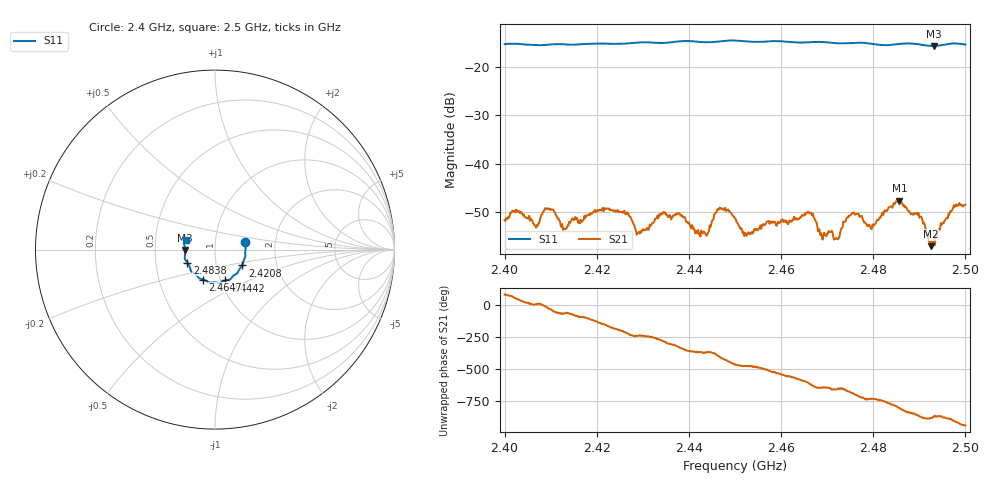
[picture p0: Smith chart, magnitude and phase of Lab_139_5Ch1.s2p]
# Hz S RI R 50
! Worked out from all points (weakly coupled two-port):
!   601 points, 2.4 GHz to 2.5 GHz, reference 50 ohm
!   highest |S21| = -47.64 dB at 2.4857 GHz (marker M1); lowest = -57.1 dB at 2.4925 GHz (marker M2)
!   lowest |S11| = -15.6 dB at 2.4932 GHz (marker M3), VSWR 1.40, Z = 35.8 - j0.109 ohm
!   |S11| at or under -10 dB: start of sweep to end of sweep
!   S12 and S22 are empty: the file has one direction only
!   S11 on the Smith chart (normalised r, x): 2.4 GHz: 1.40, +0.12; 2.4208 GHz: 1.33, -0.24; 2.4442 GHz: 1.05, -0.37; 2.4647 GHz: 0.83, -0.29; 2.4838 GHz: 0.73, -0.11; 2.5 GHz: 0.72, +0.08
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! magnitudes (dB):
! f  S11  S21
! 2.4 GHz  -15.2  -51.7
! 2.4167 GHz  -15.3  -52.1
! 2.4208 GHz  -15.1  -49.6
! 2.4263 GHz  -15.1  -50.1
! 2.4292 GHz  -14.9  -54.1
! 2.4333 GHz  -15.0  -51.3
! 2.4442 GHz  -14.9  -54.2
! 2.4467 GHz  -14.7  -49.1
! 2.45 GHz  -14.5  -51.3
! 2.4525 GHz  -14.7  -54.9
! 2.4647 GHz  -14.9  -50.7
! 2.4667 GHz  -14.8  -50.6
! 2.472 GHz  -15.1  -55.4
! 2.4752 GHz  -15.0  -50.5
! 2.4798 GHz  -15.2  -52.6
! 2.4833 GHz  -15.4  -49.0
! 2.4838 GHz  -15.4  -48.8
! 2.4857 GHz  -15.2  -47.6
! 2.4902 GHz  -15.3  -50.9
! 2.4925 GHz  -15.6  -57.1
! 2.4932 GHz  -15.6  -56.0
! 2.5 GHz  -15.3  -48.4
